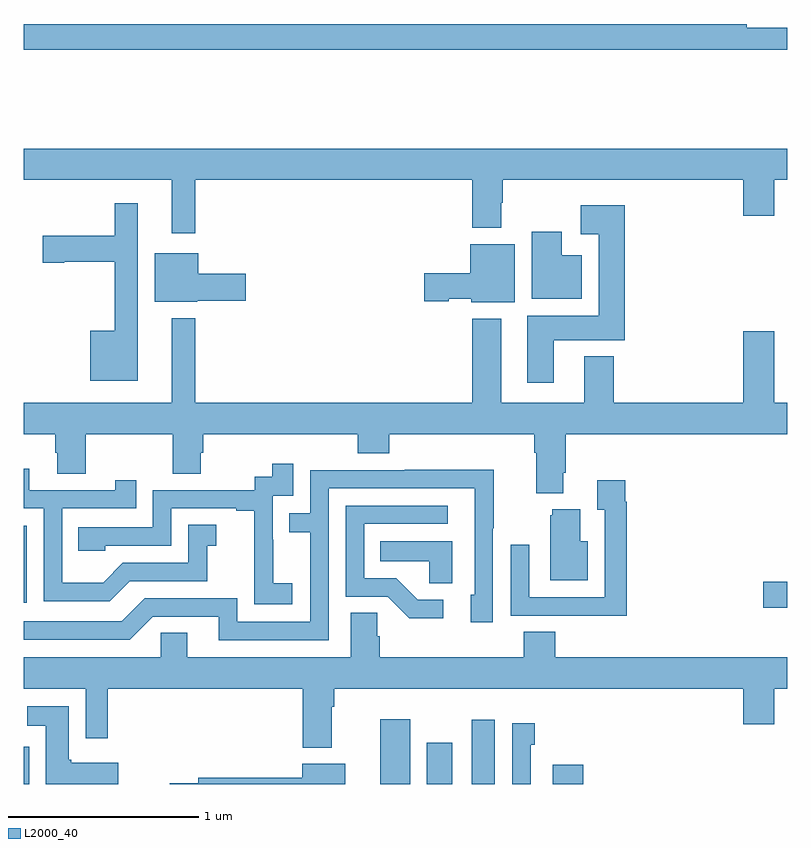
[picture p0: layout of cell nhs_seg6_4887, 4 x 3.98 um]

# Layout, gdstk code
import gdstk
lib = gdstk.Library(unit=1e-6, precision=1e-09)
def R(c, l, rs):  # rectangles x0, y0, x1, y1
    for r in rs: c.add(gdstk.rectangle(r[:2], r[2:], *l))
def P(c, l, *ps):  # polygons
    for p in ps: c.add(gdstk.Polygon(p, *l))
L2000_40 = (2000, 40)

nhs_seg6_4887 = lib.new_cell('nhs_seg6_4887')
R(nhs_seg6_4887, L2000_40, [(401,949.5,401.029,949.695), (402.869,949.5,403.024,949.84), (403.112,949.5,403.246,949.717), (403.346,949.5,403.468,949.837), (403.772,949.5,403.93,949.6), (404.874,950.423,405,950.558), (401,950.448,401.016,950.853)])
P(nhs_seg6_4887, L2000_40, [(405,953.46),(404.786,953.46),(404.786,953.48),(401,953.48),(401,953.344),(405,953.344)],
  [(401.899,952.664),(403.349,952.664),(403.349,952.412),(403.501,952.412),(403.501,952.544),(403.509,952.544),(403.509,952.664),(404.768,952.664),(404.768,952.476),(404.932,952.476),(404.932,952.664),(405,952.664),(405,952.828),(401,952.828),(401,952.664),(401.777,952.664),(401.777,952.383),(401.899,952.383)],
  [(401.599,952.54),(401.478,952.54),(401.478,952.371),(401.1,952.371),(401.1,952.229),(401.212,952.229),(401.212,952.234),(401.478,952.234),(401.478,951.874),(401.348,951.874),(401.348,951.611),(401.599,951.611)],
  [(403.777,951.824),(404.147,951.824),(404.147,952.531),(403.917,952.531),(403.917,952.379),(404.012,952.379),(404.012,951.952),(403.637,951.952),(403.637,951.6),(403.777,951.6)],
  [(403.924,952.27),(403.819,952.27),(403.819,952.393),(403.661,952.393),(403.661,952.04),(403.924,952.04)],
  [(403.573,952.327),(403.34,952.327),(403.34,952.175),(403.098,952.175),(403.098,952.028),(403.227,952.028),(403.227,952.04),(403.344,952.04),(403.344,952.022),(403.573,952.022)],
  [(401.91,952.031),(402.163,952.031),(402.163,952.173),(401.914,952.173),(401.914,952.279),(401.687,952.279),(401.687,952.025),(401.91,952.025)],
  [(403.825,951.13),(403.838,951.13),(403.838,951.332),(405,951.332),(405,951.496),(404.932,951.496),(404.932,951.871),(404.768,951.871),(404.768,951.496),(404.09,951.496),(404.09,951.739),(403.937,951.739),(403.937,951.496),(403.501,951.496),(403.501,951.937),(403.349,951.937),(403.349,951.496),(401.899,951.496),(401.899,951.94),(401.777,951.94),(401.777,951.496),(401,951.496),(401,951.332),(401.165,951.332),(401.165,951.234),(401.177,951.234),(401.177,951.124),(401.325,951.124),(401.325,951.332),(401.782,951.332),(401.782,951.124),(401.929,951.124),(401.929,951.234),(401.942,951.234),(401.942,951.332),(402.749,951.332),(402.749,951.233),(402.914,951.233),(402.914,951.332),(403.673,951.332),(403.673,951.236),(403.685,951.236),(403.685,951.023),(403.825,951.023)],
  [(402.406,950.551),(402.308,950.551),(402.308,950.78),(402.306,950.78),(402.306,951.009),(402.411,951.009),(402.411,951.178),(402.303,951.178),(402.303,951.108),(402.21,951.108),(402.21,951.039),(401.676,951.039),(401.676,950.844),(401.287,950.844),(401.287,950.721),(401.427,950.721),(401.427,950.748),(401.772,950.748),(401.772,950.943),(402.113,950.943),(402.113,950.931),(402.209,950.931),(402.209,950.647),(402.208,950.647),(402.208,950.441),(402.406,950.441)],
  [(401.557,950.562),(401.961,950.562),(401.961,950.747),(402.01,950.747),(402.01,950.857),(401.862,950.857),(401.862,950.658),(401.52,950.658),(401.416,950.554),(401.202,950.554),(401.202,950.943),(401.591,950.943),(401.591,951.091),(401.48,951.091),(401.48,951.039),(401.029,951.039),(401.029,951.151),(401,951.151),(401,950.943),(401.106,950.943),(401.106,950.457),(401.452,950.457)],
  [(402.597,951.048),(403.362,951.048),(403.362,950.49),(403.343,950.49),(403.343,950.346),(403.458,950.346),(403.458,950.839),(403.461,950.839),(403.461,951.146),(402.997,951.146),(402.997,951.144),(402.501,951.144),(402.501,950.919),(402.391,950.919),(402.391,950.818),(402.501,950.818),(402.501,950.349),(402.12,950.349),(402.12,950.472),(401.634,950.472),(401.514,950.352),(401,950.352),(401,950.256),(401.556,950.256),(401.676,950.376),(402.023,950.376),(402.023,950.253),(402.597,950.253)],
  [(404.159,950.978),(404.152,950.978),(404.152,951.091),(404.003,951.091),(404.003,950.935),(404.043,950.935),(404.043,950.478),(403.647,950.478),(403.647,950.752),(403.551,950.752),(403.551,950.382),(403.867,950.382),(403.867,950.381),(404.159,950.381)],
  [(403.198,950.466),(403.063,950.466),(402.952,950.577),(402.783,950.577),(402.783,950.862),(403.222,950.862),(403.222,950.958),(402.687,950.958),(402.687,950.481),(402.906,950.481),(403.019,950.369),(403.198,950.369)],
  [(403.954,950.77),(403.915,950.77),(403.915,950.938),(403.769,950.938),(403.769,950.907),(403.757,950.907),(403.757,950.567),(403.954,950.567)],
  [(403.246,950.77),(402.868,950.77),(402.868,950.666),(403.125,950.666),(403.125,950.551),(403.246,950.551)],
  [(402.613,949.904),(402.626,949.904),(402.626,950),(404.768,950),(404.768,949.812),(404.932,949.812),(404.932,950),(405,950),(405,950.164),(403.784,950.164),(403.784,950.297),(403.619,950.297),(403.619,950.164),(402.866,950.164),(402.866,950.273),(402.852,950.273),(402.852,950.396),(402.713,950.396),(402.713,950.164),(401.857,950.164),(401.857,950.291),(401.718,950.291),(401.718,950.164),(401,950.164),(401,950),(401.325,950),(401.325,949.74),(401.441,949.74),(401.441,950),(402.461,950),(402.461,949.691),(402.613,949.691)],
  [(401.497,949.612),(401.25,949.612),(401.25,949.626),(401.236,949.626),(401.236,949.906),(401.019,949.906),(401.019,949.805),(401.117,949.805),(401.117,949.5),(401.497,949.5)],
  [(403.656,949.706),(403.676,949.706),(403.676,949.819),(403.56,949.819),(403.56,949.5),(403.656,949.5)],
  [(402.685,949.606),(402.458,949.606),(402.458,949.534),(401.915,949.534),(401.915,949.505),(401.766,949.505),(401.766,949.5),(402.685,949.5)])

lib.write_gds('nhs_seg6_4887.gds')
